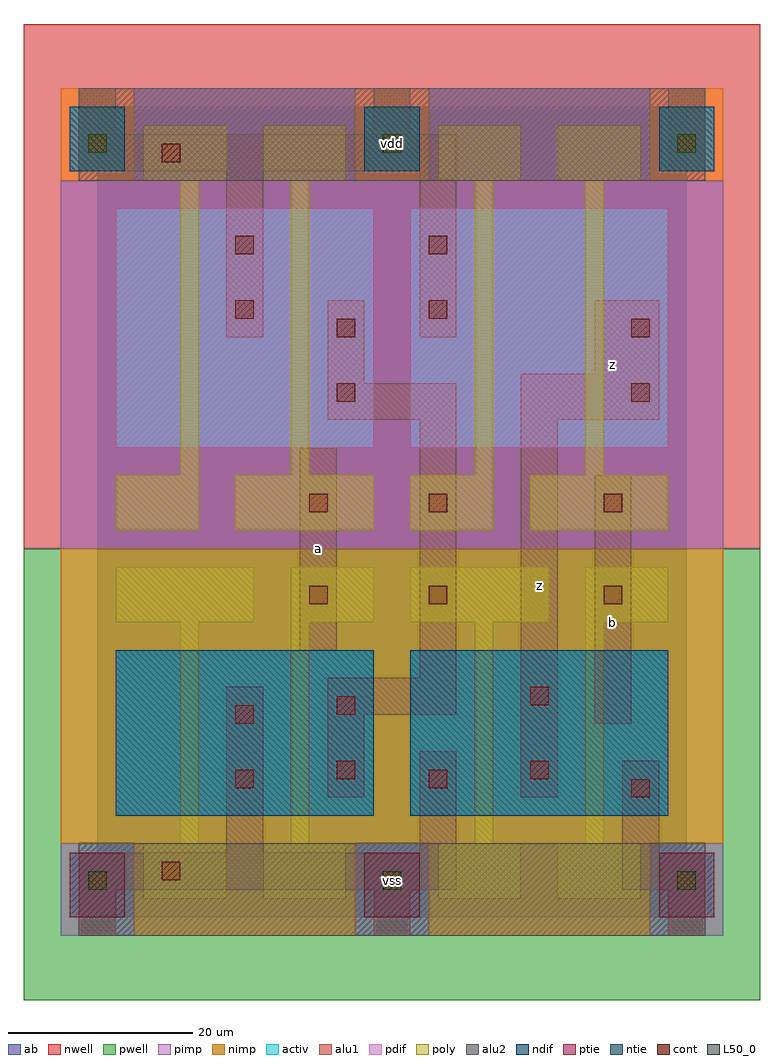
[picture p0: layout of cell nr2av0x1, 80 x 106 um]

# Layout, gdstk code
import gdstk
lib = gdstk.Library(unit=1e-6, precision=1e-09)
def R(c, l, rs):  # rectangles x0, y0, x1, y1
    for r in rs: c.add(gdstk.rectangle(r[:2], r[2:], *l))
def A(c, l, x, y, w, h, nx, ny, dx, dy):  # array of equal rectangles
    R(c, l, [(x+i*dx, y+j*dy, x+i*dx+w, y+j*dy+h) for i in range(nx) for j in range(ny)])
ndif = (3, 0)
pdif = (4, 0)
ntie = (5, 0)
ptie = (6, 0)
cont = (25, 0)
pwell = (41, 0)
nwell = (42, 0)
activ = (43, 0)
pimp = (44, 0)
nimp = (45, 0)
poly = (46, 0)
alu1 = (49, 0)
L50_0 = (50, 0)
alu2 = (51, 0)
ab = (63, 0)

nr2av0x1 = lib.new_cell('nr2av0x1')
R(nr2av0x1, ndif, [(2,11,30,29), (34,11,62,29)])
R(nr2av0x1, pdif, [(2,51,30,77), (34,51,62,77)])
A(nr2av0x1, ntie, -3, 81, 6, 7, 3, 1, 32, 0)
A(nr2av0x1, ptie, -3, 0, 6, 7, 3, 1, 32, 0)
A(nr2av0x1, cont, -1, 3, 2, 2, 3, 2, 32, 80)
R(nr2av0x1, cont, [(7,4,9,6), (58,13,60,15), (15,14,17,16), (36,14,38,16), (26,15,28,17), (47,15,49,17), (15,21,17,23), (26,22,28,24), (47,23,49,25), (23,34,25,36), (36,34,38,36), (55,34,57,36), (23,44,25,46), (36,44,38,46), (55,44,57,46), (26,56,28,58), (58,56,60,58), (26,63,28,65), (58,63,60,65), (15,65,17,67), (36,65,38,67), (15,72,17,74), (36,72,38,74), (7,82,9,84)])
R(nr2av0x1, pwell, [(-8,-9,72,40)])
R(nr2av0x1, nwell, [(-8,40,72,97)])
A(nr2av0x1, activ, -3, 0, 6, 7, 3, 2, 32, 81)
R(nr2av0x1, activ, [(2,11,30,29), (34,11,62,29), (2,51,30,77), (34,51,62,77)])
A(nr2av0x1, pimp, -4, -2, 8, 10, 3, 1, 32, 0)
R(nr2av0x1, pimp, [(-4,40,68,80), (4,80,28,90), (36,80,60,90)])
A(nr2av0x1, nimp, -4, 80, 8, 10, 3, 1, 32, 0)
R(nr2av0x1, nimp, [(4,-2,28,8), (36,-2,60,8), (-4,8,68,40)])
R(nr2av0x1, poly, [(5,2,14,8), (18,2,27,8), (37,2,46,8), (50,2,59,8), (9,8,11,32), (21,8,23,32), (41,8,43,32), (53,8,55,32), (2,32,17,38), (21,32,30,38), (34,32,49,38), (53,32,62,38), (2,42,11,48), (15,42,30,48), (34,42,43,48), (47,42,62,48), (9,48,11,80), (21,48,23,80), (41,48,43,80), (53,48,55,80), (5,80,14,86), (18,80,27,86), (37,80,46,86), (50,80,59,86)])
A(nr2av0x1, alu1, -2, -2, 4, 5, 3, 1, 32, 0)
R(nr2av0x1, alu1, [(-2,3,39,7), (57,3,66,7), (14,7,18,25), (35,7,39,18), (57,7,61,17), (25,13,29,22), (46,13,50,54), (54,21,58,48), (25,22,39,26), (35,26,39,54), (22,29,26,51), (25,54,39,58), (46,54,61,59), (25,58,29,67), (54,59,61,67), (14,63,18,81), (35,63,39,81), (-2,81,39,85), (62,81,66,90), (-2,85,2,90), (30,85,34,90)])
A(nr2av0x1, L50_0, -1, 3, 2, 2, 3, 2, 32, 80)
R(nr2av0x1, alu2, [(-2,-2,66,8), (-2,80,66,90)])
R(nr2av0x1, ab, [(0,0,64,88)])
nr2av0x1.add(gdstk.Label('a', (24,40), layer=49, texttype=0))
nr2av0x1.add(gdstk.Label('z', (48,36), layer=49, texttype=0))
nr2av0x1.add(gdstk.Label('b', (56,32), layer=49, texttype=0))
nr2av0x1.add(gdstk.Label('z', (56,60), layer=49, texttype=0))
nr2av0x1.add(gdstk.Label('vss', (32,4), layer=51, texttype=0))
nr2av0x1.add(gdstk.Label('vdd', (32,84), layer=51, texttype=0))

lib.write_gds('nr2av0x1.gds')
